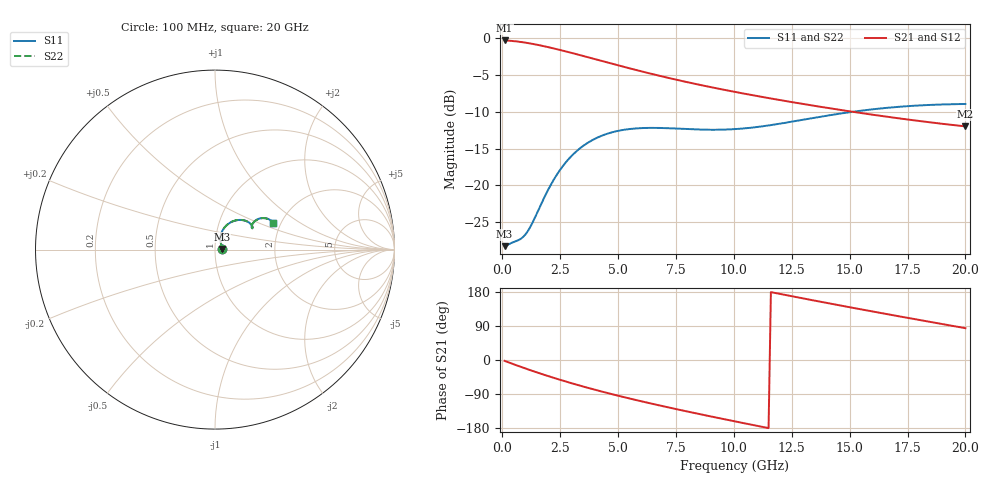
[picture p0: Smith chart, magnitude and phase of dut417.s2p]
! Touchstone file exported from HFSS 2024.1.0
!  File:  C:/UserFiles/LocalFiles/RDL_TSV_Batchsim/temp_RDL_TSV_417_1779716299.aedt
!  Generated:  10:02:38 PM May 25, 2026
!  Design:  RDL_TSV
!  Project:  temp_RDL_TSV_417_1779716299
!  Setup:  Setup1
!  Solution:  Sweep
! Variables:
!  dtsv = 12.23um
!  hbump = 3um
!  htsv = 81.99um
!  ldown = 473.78um
!  lrdl = 604.74um
!  p = 40
!  p1 = 40.39um
!  rhole = 10um
!  subl = 3840.3um
!  t = 450um
!  tdown = 2.19um
!  trdl = 2.67um
!  viad = 10um
!  wdown = 10.41um
!  wrdl = 17.75um
!  xbump = 18um
# GHz S MA R 50.000000
! Terminal data exported
! Port[1] = TM1_1_T1
! Port[2] = TM1_4_T1
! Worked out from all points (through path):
!   200 points, 100 MHz to 20 GHz, reference 50 ohm
!   highest |S21| = -0.35 dB at 100 MHz (marker M1); lowest = -12.0 dB at 20 GHz (marker M2)
!   group delay of S21, straight-line fit = 36.5 ps
!   lowest |S11| = -28.2 dB at 100 MHz (marker M3), VSWR 1.08, Z = 54 + j0.362 ohm
!   |S11| at or under -10 dB: start of sweep to 15.18 GHz
!   |S22| runs from -28.2 to -9.0 dB; largest |S21 - S12| = 1e-14
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0.1  0.0387 5.0  0.961 -2.3  0.961 -2.3  0.03869 5.0
! Gamma 0 0 0 0
! Port Impedance 50 0 50 0
0.5  0.04134 21.4  0.9512 -11.5  0.9512 -11.5  0.04134 21.4
1  0.04648 43.7  0.9287 -22.4  0.9287 -22.4  0.04648 43.8
1.3  0.05566 56.5  0.9115 -28.7  0.9115 -28.7  0.05566 56.6
1.8  0.0819 67.4  0.8786 -38.9  0.8786 -38.9  0.08191 67.4
2.2  0.1078 68.7  0.8501 -46.7  0.8501 -46.7  0.1078 68.7
2.6  0.1341 66.7  0.8206 -54.2  0.8206 -54.2  0.1342 66.7
3  0.1588 63.1  0.7909 -61.4  0.7909 -61.4  0.1589 63.1
3.5  0.1856 57.9  0.7541 -70.1  0.7541 -70.1  0.1857 57.9
4.2  0.2141 50.6  0.7045 -81.7  0.7045 -81.7  0.2142 50.6
5.1  0.2358 42.3  0.6458 -95.7  0.6458 -95.7  0.2361 42.3
5.9  0.244 36.7  0.5991 -107.5  0.5991 -107.5  0.2443 36.7
6.8  0.2451 32.4  0.5528 -120.0  0.5528 -120.0  0.2454 32.3
7.6  0.2424 30.3  0.5169 -130.8  0.5169 -130.8  0.2428 30.3
8.4  0.2394 29.8  0.4852 -141.2  0.4852 -141.2  0.2398 29.7
10.1  0.241 32.0  0.4288 -162.6  0.4288 -162.6  0.2413 31.9
11.6  0.2562 34.7  0.3883 179.1  0.3883 179.1  0.2564 34.6
13.4  0.2859 35.6  0.3479 157.7  0.3479 157.7  0.2859 35.5
15  0.3134 34.1  0.3177 139.2  0.3177 139.2  0.3132 33.9
16.7  0.3366 31.0  0.2908 120.1  0.2908 120.1  0.3363 30.9
18.3  0.3502 27.8  0.2697 102.5  0.2697 102.5  0.3499 27.6
20  0.3563 24.6  0.2512 84.0  0.2512 84.0  0.356 24.5
